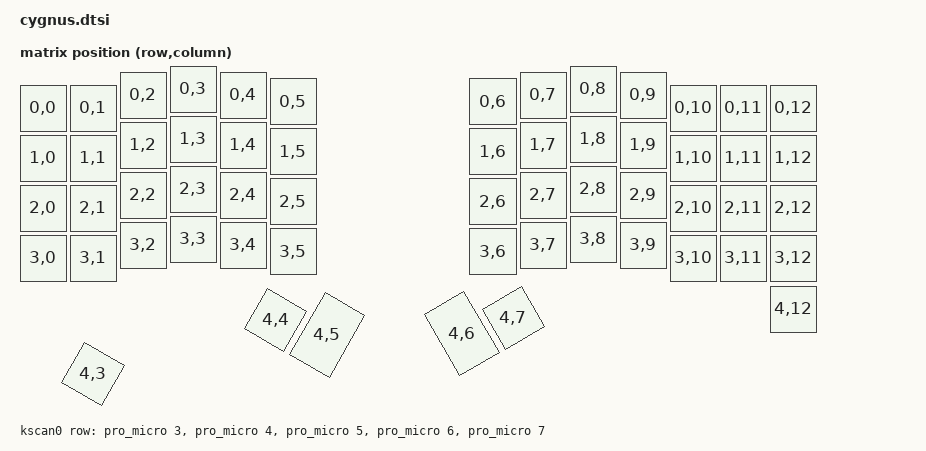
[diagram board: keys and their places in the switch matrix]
#include <dt-bindings/zmk/matrix_transform.h>
#include <physical_layouts.dtsi>

/ {
    chosen {
        zmk,kscan = &kscan0;
        zmk,physical-layout = &cygnus_physical_layout;
    };

    default_transform: keymap_transform_0 {
        compatible = "zmk,matrix-transform";
        columns = <13>;
        rows = <5>;
// | SW6  | SW5  | SW4  | SW3  | SW2  | SW1  |      | SW1  | SW2  | SW3  | SW4  | SW5  | SW6  |
// | SW12 | SW11 | SW10 | SW9  | SW8  | SW7  |      | SW7  | SW8  | SW9  | SW10 | SW11 | SW12 |
// | SW18 | SW17 | SW16 | SW15 | SW14 | SW13 |      | SW13 | SW14 | SW15 | SW16 | SW17 | SW18 |
// | SW24 | SW23 | SW22 | SW21 | SW20 | SW19 |      | SW19 | SW20 | SW21 | SW22 | SW23 | SW24 |
//                      | SW29 | SW28 | SW27 |      | SW27 | SW28 | SW29 |
        map = <
RC(0,0) RC(0,1) RC(0,2) RC(0,3) RC(0,4) RC(0,5)     RC(0,6) RC(0,7) RC(0,8) RC(0,9) RC(0,10) RC(0,11) RC(0,12)
RC(1,0) RC(1,1) RC(1,2) RC(1,3) RC(1,4) RC(1,5)     RC(1,6) RC(1,7) RC(1,8) RC(1,9) RC(1,10) RC(1,11) RC(1,12)
RC(2,0) RC(2,1) RC(2,2) RC(2,3) RC(2,4) RC(2,5)     RC(2,6) RC(2,7) RC(2,8) RC(2,9) RC(2,10) RC(2,11) RC(2,12)
RC(3,0) RC(3,1) RC(3,2) RC(3,3) RC(3,4) RC(3,5)     RC(3,6) RC(3,7) RC(3,8) RC(3,9) RC(3,10) RC(3,11) RC(3,12)
                        RC(4,3) RC(4,4) RC(4,5)     RC(4,6) RC(4,7)                                   RC(4,12)
                                               
        >;
    };

    kscan0: kscan {
        compatible = "zmk,kscan-gpio-matrix";
        diode-direction = "col2row";
        wakeup-source;
        
        row-gpios
            = <&pro_micro 3 (GPIO_ACTIVE_HIGH | GPIO_PULL_DOWN)> // Row A from the schematic file
            , <&pro_micro 4 (GPIO_ACTIVE_HIGH | GPIO_PULL_DOWN)> // Row B from the schematic file
            , <&pro_micro 5 (GPIO_ACTIVE_HIGH | GPIO_PULL_DOWN)> // Row C from the schematic file
            , <&pro_micro 6 (GPIO_ACTIVE_HIGH | GPIO_PULL_DOWN)> // Row D from the schematic file
            , <&pro_micro 7 (GPIO_ACTIVE_HIGH | GPIO_PULL_DOWN)> // Row E from the schematic file
            ;

    };

    cygnus_physical_layout: cygnus_physical_layout {
        compatible = "zmk,physical-layout";
        display-name = "Cygnus";
        transform = <&default_transform>;
        kscan = <&kscan0>;

        keys  //                     w   h    x    y     rot    rx    ry
            = <&key_physical_attrs 100 100    0   38       0     0     0>
            , <&key_physical_attrs 100 100  100   38       0     0     0>
            , <&key_physical_attrs 100 100  200   12       0     0     0>
            , <&key_physical_attrs 100 100  300    0       0     0     0>
            , <&key_physical_attrs 100 100  400   12       0     0     0>
            , <&key_physical_attrs 100 100  500   25       0     0     0>
            , <&key_physical_attrs 100 100  900   25       0     0     0>
            , <&key_physical_attrs 100 100 1000   12       0     0     0>
            , <&key_physical_attrs 100 100 1100    0       0     0     0>
            , <&key_physical_attrs 100 100 1200   12       0     0     0>
            , <&key_physical_attrs 100 100 1300   38       0     0     0>
            , <&key_physical_attrs 100 100 1400   38       0     0     0>
            , <&key_physical_attrs 100 100 1500   38       0     0     0>
            , <&key_physical_attrs 100 100    0  138       0     0     0>
            , <&key_physical_attrs 100 100  100  138       0     0     0>
            , <&key_physical_attrs 100 100  200  112       0     0     0>
            , <&key_physical_attrs 100 100  300  100       0     0     0>
            , <&key_physical_attrs 100 100  400  112       0     0     0>
            , <&key_physical_attrs 100 100  500  125       0     0     0>
            , <&key_physical_attrs 100 100  900  125       0     0     0>
            , <&key_physical_attrs 100 100 1000  112       0     0     0>
            , <&key_physical_attrs 100 100 1100  100       0     0     0>
            , <&key_physical_attrs 100 100 1200  112       0     0     0>
            , <&key_physical_attrs 100 100 1300  138       0     0     0>
            , <&key_physical_attrs 100 100 1400  138       0     0     0>
            , <&key_physical_attrs 100 100 1500  138       0     0     0>
            , <&key_physical_attrs 100 100    0  238       0     0     0>
            , <&key_physical_attrs 100 100  100  238       0     0     0>
            , <&key_physical_attrs 100 100  200  212       0     0     0>
            , <&key_physical_attrs 100 100  300  200       0     0     0>
            , <&key_physical_attrs 100 100  400  212       0     0     0>
            , <&key_physical_attrs 100 100  500  225       0     0     0>
            , <&key_physical_attrs 100 100  900  225       0     0     0>
            , <&key_physical_attrs 100 100 1000  212       0     0     0>
            , <&key_physical_attrs 100 100 1100  200       0     0     0>
            , <&key_physical_attrs 100 100 1200  212       0     0     0>
            , <&key_physical_attrs 100 100 1300  238       0     0     0>
            , <&key_physical_attrs 100 100 1400  238       0     0     0>
            , <&key_physical_attrs 100 100 1500  238       0     0     0>
            , <&key_physical_attrs 100 100    0  338       0     0     0>
            , <&key_physical_attrs 100 100  100  338       0     0     0>
            , <&key_physical_attrs 100 100  200  312       0     0     0>
            , <&key_physical_attrs 100 100  300  300       0     0     0>
            , <&key_physical_attrs 100 100  400  312       0     0     0>
            , <&key_physical_attrs 100 100  500  325       0     0     0>
            , <&key_physical_attrs 100 100  900  325       0     0     0>
            , <&key_physical_attrs 100 100 1000  312       0     0     0>
            , <&key_physical_attrs 100 100 1100  300       0     0     0>
            , <&key_physical_attrs 100 100 1200  312       0     0     0>
            , <&key_physical_attrs 100 100 1300  338       0     0     0>
            , <&key_physical_attrs 100 100 1400  338       0     0     0>
            , <&key_physical_attrs 100 100 1500  338       0     0     0>
            , <&key_physical_attrs 100 100  390  412    3000     0     0>
            , <&key_physical_attrs 100 100  310  440    3000   398   790>
            , <&key_physical_attrs 100 150  415  390    3000   398   790>
            , <&key_physical_attrs 100 150  992  390 (-3000)  1102   790>
            , <&key_physical_attrs 100 100 1097  440 (-3000)  1102   790>
            , <&key_physical_attrs 100 100 1500  440       0     0     0>
            ;
    };
};
